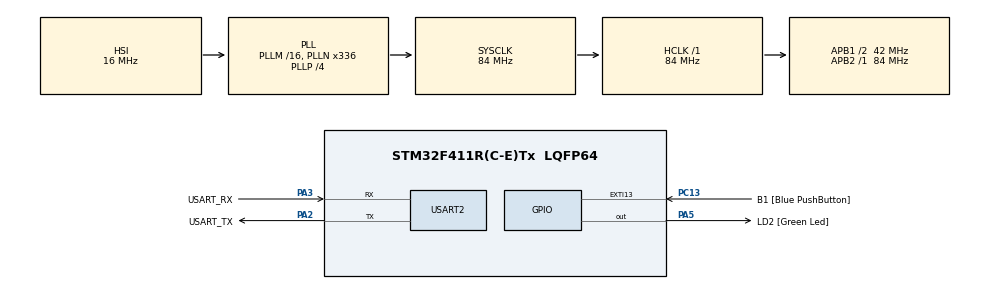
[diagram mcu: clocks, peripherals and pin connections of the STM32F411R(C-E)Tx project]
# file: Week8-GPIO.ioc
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Mcu.Family=STM32F4
Mcu.Name=STM32F411R(C-E)Tx
Mcu.Package=LQFP64
NVIC.PriorityGroup=NVIC_PRIORITYGROUP_0
NVIC.USART2_IRQn=true\:0\:0\:false\:false\:true\:true\:true
PA13.GPIO_Label=TMS
PA13.Mode=Serial_Wire
PA13.Signal=SYS_JTMS-SWDIO
PA14.GPIO_Label=TCK
PA14.Mode=Serial_Wire
PA14.Signal=SYS_JTCK-SWCLK
PA2.GPIO_Label=USART_TX
PA2.Mode=Asynchronous
PA2.Signal=USART2_TX
PA3.GPIO_Label=USART_RX
PA3.Mode=Asynchronous
PA3.Signal=USART2_RX
PA5.GPIO_Label=LD2 [Green Led]
PA5.Signal=GPIO_Output
PB3.GPIO_Label=SWO
PB3.Signal=SYS_JTDO-SWO
PC13-ANTI_TAMP.GPIO_Label=B1 [Blue PushButton]
PC13-ANTI_TAMP.GPIO_ModeDefaultEXTI=GPIO_MODE_IT_FALLING
PC13-ANTI_TAMP.Signal=GPXTI13
PC14-OSC32_IN.Mode=LSE-External-Oscillator
PC14-OSC32_IN.Signal=RCC_OSC32_IN
PC15-OSC32_OUT.Mode=LSE-External-Oscillator
PC15-OSC32_OUT.Signal=RCC_OSC32_OUT
PH0\ -\ OSC_IN.Mode=HSE-External-Clock-Source
PH0\ -\ OSC_IN.Signal=RCC_OSC_IN
PH1\ -\ OSC_OUT.Mode=HSE-External-Clock-Source
PH1\ -\ OSC_OUT.Signal=RCC_OSC_OUT
ProjectManager.HeapSize=0x200
ProjectManager.StackSize=0x400
ProjectManager.TargetToolchain=STM32CubeIDE
RCC.48MHZClocksFreq_Value=84000000
RCC.AHBFreq_Value=84000000
RCC.APB1CLKDivider=RCC_HCLK_DIV2
RCC.APB1Freq_Value=42000000
RCC.APB1TimFreq_Value=84000000
RCC.APB2Freq_Value=84000000
RCC.APB2TimFreq_Value=84000000
RCC.CortexFreq_Value=84000000
RCC.FLatency-AdvancedSettings=FLASH_LATENCY_2
RCC.HCLKFreq_Value=84000000
RCC.HSE_VALUE=8000000
RCC.HSI_VALUE=16000000
RCC.PLLN=336
RCC.PLLP=RCC_PLLP_DIV4
RCC.SYSCLKFreq_VALUE=84000000
RCC.SYSCLKSource=RCC_SYSCLKSOURCE_PLLCLK
RCC.VCOOutputFreq_Value=336000000
USART2.VirtualMode=VM_ASYNC
board=NUCLEO-F411RE

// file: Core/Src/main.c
/* USER CODE BEGIN Header */
/**
  ******************************************************************************
  * @file           : main.c
  * @brief          : Main program body
  ******************************************************************************
  * @attention
  *
  * <h2><center>&copy; Copyright (c) 2021 STMicroelectronics.
  * All rights reserved.</center></h2>
  *
  * This software component is licensed by ST under BSD 3-Clause license,
  * the "License"; You may not use this file except in compliance with the
  * License. You may obtain a copy of the License at:
  *                        opensource.org/licenses/BSD-3-Clause
  *
  ******************************************************************************
  */
/* USER CODE END Header */
#include "main.h"

/* USER CODE BEGIN Includes */
#include <stdio.h>
#include <string.h>
/* USER CODE END Includes */

UART_HandleTypeDef huart2;

/* USER CODE BEGIN PV */
enum _state
{
state_0 = 0,
state_1,
state_2,

};

int8_t state = 0;
int8_t force_print_menu = 1;
uint32_t TimeStamp = 0;
uint32_t frequency = 5;
uint8_t LED_mode = 1;
uint8_t BlueButton[2];
uint8_t pinstate_hack = 0;

char TxDataBuffer[32] =
{ 0 };
char RxDataBuffer[32] =
{ 0 };
/* USER CODE END PV */

void SystemClock_Config(void);
static void MX_GPIO_Init(void);
static void MX_USART2_UART_Init(void);
/* USER CODE BEGIN PFP */
void UARTRecieveAndResponsePolling();
int16_t UARTRecieveIT();
/* USER CODE END PFP */

int main(void)
{

  /* MCU Configuration--------------------------------------------------------*/

  /* Reset of all peripherals, Initializes the Flash interface and the Systick. */
  HAL_Init();

  /* Configure the system clock */
  SystemClock_Config();

  /* Initialize all configured peripherals */
  MX_GPIO_Init();
  MX_USART2_UART_Init();
  /* USER CODE BEGIN 2 */
  	{
    char temp[]="HELLO WORLD\r\n please type something to test UART\r\n";
    HAL_UART_Transmit(&huart2, (uint8_t*)temp, strlen(temp),1000);
    }

  /* USER CODE END 2 */

  /* Infinite loop */
  /* USER CODE BEGIN WHILE */
  while (1)
  {
	  		HAL_UART_Receive_IT(&huart2,  (uint8_t*)RxDataBuffer, 32);
	  		int16_t inputchar = UARTRecieveIT();
	  		BlueButton[1] = BlueButton[0];
	  		BlueButton[0] = HAL_GPIO_ReadPin(GPIOC, GPIO_PIN_13);

	  		if (state == 0)
	  		{
	  			if (force_print_menu == 1)
	  			{
	  				{
	  				    char temp[]="*************************\r\n"
	  				    		"Menu\r\n"
	  				    		"*************************\r\n"
	  				    		"0 : LED Control\r\n"
	  				    		"1 : button Status\r\n"
	  				    		"*************************\r\n";
	  				    HAL_UART_Transmit(&huart2, (uint8_t*)temp, strlen(temp),1000);
	  				}
	  				force_print_menu = 0;
	  			}

	  			if (inputchar == '0')
	  			{
	  				state = 1;
	  				force_print_menu = 1;
	  			}
	  			else if (inputchar == '1')
				{
					state = 2;
					force_print_menu = 1;
				}
	  			else if (inputchar == -1)
				{

				}
	  			else
				{
					force_print_menu = 1;
				}
	  		}

	  		else if (state == 1)
			{
	  			if (force_print_menu == 1)
				{
	  				{
	  				    char temp[]="*************************\r\n"
	  				    		"Menu0\r\n"
	  				    		"*************************\r\n"
	  				    		"a:Speed Up +1Hz\r\n"
	  				    		"s:Speed Down -1Hz\r\n"
	  				    		"d:On/off\r\n"
	  				    		"x:back\r\n"
	  				    		"*************************\r\n";
	  				    HAL_UART_Transmit(&huart2, (uint8_t*)temp, strlen(temp),1000);
	  				}
					force_print_menu = 0;
				}
	  			if (inputchar == 'a')
				{
	  				frequency += 1;
				}
				else if (inputchar == 's')
				{
					if (frequency != 0)
					{
						frequency -= 1;
					}
				}
				else if (inputchar == 'd')
				{
					if (LED_mode == 1)
					{LED_mode = 0;					}
					else if (LED_mode == 0)
					{LED_mode = 1;}
				}
				else if (inputchar == 'x')
				{
					state = 0;
					force_print_menu = 1;
				}
				else if (inputchar == -1)
				{

				}
				else
				{
					force_print_menu = 1;
				}
			}

	  		else if (state == 2)
			{
	  			if (force_print_menu == 1)
				{
	  				{
	  				    char temp[]="*************************\r\n"
	  				    		"Menu0\r\n"
	  				    		"*************************\r\n"
	  				    		"x:back\r\n"
	  				    		"[if button Press/UnPress] show button status\r\n"
	  				    		"*************************\r\n";
	  				    HAL_UART_Transmit(&huart2, (uint8_t*)temp, strlen(temp),1000);
	  				}
					force_print_menu = 0;
				}

	  			if (inputchar == 'x')
				{
					state = 0;
					force_print_menu = 1;
				}
	  			else if (inputchar == -1)
				{

				}
	  			else
				{
					force_print_menu = 1;
				}

	  			if ((BlueButton[1] == 1)&&(BlueButton[0] == 0))
	  			{
	  				{
						char temp[]="*************************\r\n"
								"Blue_Button_status : Press\r\n"
								"*************************\r\n";
						HAL_UART_Transmit(&huart2, (uint8_t*)temp, strlen(temp),1000);
	  				}
	  			}
	  			else if ((BlueButton[1] == 0)&&(BlueButton[0] == 1))
				{
					{
						char temp[]="*************************\r\n"
								"Blue_Button_status : UnPress\r\n"
								"*************************\r\n";
						HAL_UART_Transmit(&huart2, (uint8_t*)temp, strlen(temp),1000);
					}
				}

			}

	  		if (LED_mode == 1)
			{
	  			if (frequency == 0)
	  			{

	  			}
	  			else
	  			{
					if(HAL_GetTick() - TimeStamp >= 500/(frequency))
					{
						TimeStamp = HAL_GetTick();
						HAL_GPIO_TogglePin(LD2_GPIO_Port, LD2_Pin);
					}
	  			}
			}

			else if (LED_mode == 0)
			{

				HAL_GPIO_WritePin(LD2_GPIO_Port, LD2_Pin,0);

			}

    /* USER CODE END WHILE */

  }
}

void SystemClock_Config(void)
{
  RCC_OscInitTypeDef RCC_OscInitStruct = {0};
  RCC_ClkInitTypeDef RCC_ClkInitStruct = {0};

  /** Configure the main internal regulator output voltage
  */
  __HAL_RCC_PWR_CLK_ENABLE();
  __HAL_PWR_VOLTAGESCALING_CONFIG(PWR_REGULATOR_VOLTAGE_SCALE1);
  /** Initializes the RCC Oscillators according to the specified parameters
  * in the RCC_OscInitTypeDef structure.
  */
  RCC_OscInitStruct.OscillatorType = RCC_OSCILLATORTYPE_HSI;
  RCC_OscInitStruct.HSIState = RCC_HSI_ON;
  RCC_OscInitStruct.HSICalibrationValue = RCC_HSICALIBRATION_DEFAULT;
  RCC_OscInitStruct.PLL.PLLState = RCC_PLL_ON;
  RCC_OscInitStruct.PLL.PLLSource = RCC_PLLSOURCE_HSI;
  RCC_OscInitStruct.PLL.PLLM = 16;
  RCC_OscInitStruct.PLL.PLLN = 336;
  RCC_OscInitStruct.PLL.PLLP = RCC_PLLP_DIV4;
  RCC_OscInitStruct.PLL.PLLQ = 4;
  if (HAL_RCC_OscConfig(&RCC_OscInitStruct) != HAL_OK)
  {
    Error_Handler();
  }
  /** Initializes the CPU, AHB and APB buses clocks
  */
  RCC_ClkInitStruct.ClockType = RCC_CLOCKTYPE_HCLK|RCC_CLOCKTYPE_SYSCLK
                              |RCC_CLOCKTYPE_PCLK1|RCC_CLOCKTYPE_PCLK2;
  RCC_ClkInitStruct.SYSCLKSource = RCC_SYSCLKSOURCE_PLLCLK;
  RCC_ClkInitStruct.AHBCLKDivider = RCC_SYSCLK_DIV1;
  RCC_ClkInitStruct.APB1CLKDivider = RCC_HCLK_DIV2;
  RCC_ClkInitStruct.APB2CLKDivider = RCC_HCLK_DIV1;

  if (HAL_RCC_ClockConfig(&RCC_ClkInitStruct, FLASH_LATENCY_2) != HAL_OK)
  {
    Error_Handler();
  }
}

static void MX_USART2_UART_Init(void)
{

  huart2.Instance = USART2;
  huart2.Init.BaudRate = 115200;
  huart2.Init.WordLength = UART_WORDLENGTH_8B;
  huart2.Init.StopBits = UART_STOPBITS_1;
  huart2.Init.Parity = UART_PARITY_NONE;
  huart2.Init.Mode = UART_MODE_TX_RX;
  huart2.Init.HwFlowCtl = UART_HWCONTROL_NONE;
  huart2.Init.OverSampling = UART_OVERSAMPLING_16;
  if (HAL_UART_Init(&huart2) != HAL_OK)
  {
    Error_Handler();
  }

}

static void MX_GPIO_Init(void)
{
  GPIO_InitTypeDef GPIO_InitStruct = {0};

  /* GPIO Ports Clock Enable */
  __HAL_RCC_GPIOC_CLK_ENABLE();
  __HAL_RCC_GPIOH_CLK_ENABLE();
  __HAL_RCC_GPIOA_CLK_ENABLE();
  __HAL_RCC_GPIOB_CLK_ENABLE();

  /*Configure GPIO pin Output Level */
  HAL_GPIO_WritePin(LD2_GPIO_Port, LD2_Pin, GPIO_PIN_RESET);

  /*Configure GPIO pin : B1_Pin */
  GPIO_InitStruct.Pin = B1_Pin;
  GPIO_InitStruct.Mode = GPIO_MODE_IT_FALLING;
  GPIO_InitStruct.Pull = GPIO_NOPULL;
  HAL_GPIO_Init(B1_GPIO_Port, &GPIO_InitStruct);

  /*Configure GPIO pin : LD2_Pin */
  GPIO_InitStruct.Pin = LD2_Pin;
  GPIO_InitStruct.Mode = GPIO_MODE_OUTPUT_PP;
  GPIO_InitStruct.Pull = GPIO_NOPULL;
  GPIO_InitStruct.Speed = GPIO_SPEED_FREQ_LOW;
  HAL_GPIO_Init(LD2_GPIO_Port, &GPIO_InitStruct);

}

/* USER CODE BEGIN 4 */

void UARTRecieveAndResponsePolling()
{
	char Recieve[32]={0};

	HAL_UART_Receive(&huart2, (uint8_t*)Recieve, 32, 1000);

	sprintf(TxDataBuffer, "Received:[%s]\r\n", Recieve);
	HAL_UART_Transmit(&huart2, (uint8_t*)TxDataBuffer, strlen(TxDataBuffer), 1000);

}

int16_t UARTRecieveIT()
{
	static uint32_t dataPos =0;
	int16_t data=-1;
	if(huart2.RxXferSize - huart2.RxXferCount!=dataPos)
	{
		data=RxDataBuffer[dataPos];
		dataPos= (dataPos+1)%huart2.RxXferSize;
	}
	return data;
}

void HAL_UART_RxCpltCallback(UART_HandleTypeDef *huart)
{
	//sprintf(TxDataBuffer, "Received:[%s]\r\n", RxDataBuffer);
	//HAL_UART_Transmit(&huart2, (uint8_t*)TxDataBuffer, strlen(TxDataBuffer), 1000);
	//HAL_UART_Transmit_IT(&huart2, (uint8_t*)TxDataBuffer, strlen(TxDataBuffer));

}

/* USER CODE END 4 */

void Error_Handler(void)
{
  __disable_irq();
  while (1)
  {
  }
}

/************************ (C) COPYRIGHT STMicroelectronics *****END OF FILE****/
